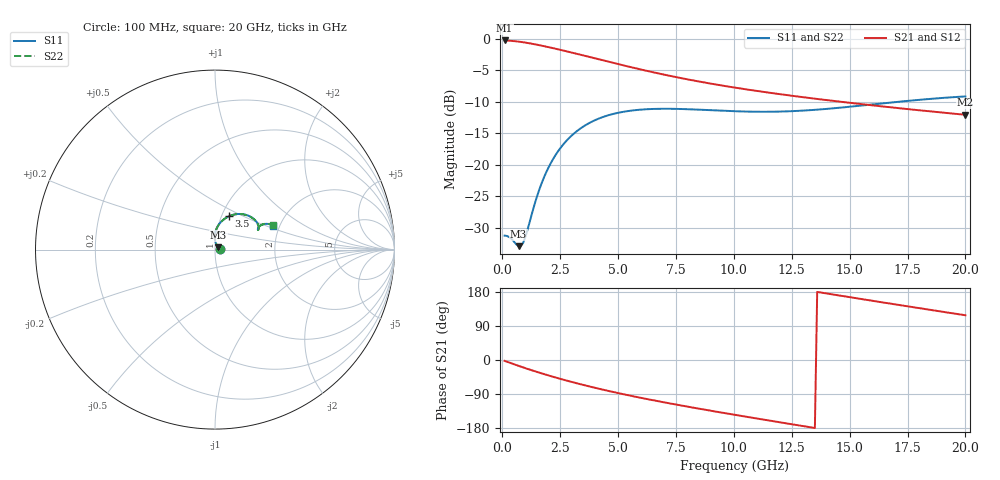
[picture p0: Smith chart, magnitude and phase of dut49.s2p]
! Touchstone file exported from HFSS 2023.1.0
!  File:  D:/Users/fzz/RDL_TSV/temp_RDL_TSV_49_1778745231.aedt
!  Generated:  4:05:14 %x4E0B%x5348  5%x6708 14, 2026
!  Design:  RDL_TSV
!  Project:  temp_RDL_TSV_49_1778745231
!  Setup:  Setup1
!  Solution:  Sweep
! Variables:
!  dtsv = 12.33um
!  hbump = 3um
!  htsv = 89.3um
!  ldown = 646.48um
!  lrdl = 322.25um
!  p = 40
!  p1 = 52.16um
!  rhole = 10um
!  subl = 3228.44um
!  t = 450um
!  tdown = 2.75um
!  trdl = 2.72um
!  viad = 10um
!  wdown = 11.9um
!  wrdl = 24.67um
!  xbump = 18um
# GHz S MA R 50.000000
! Terminal data exported
! Port[1] = TM1_1_T1
! Port[2] = TM1_4_T1
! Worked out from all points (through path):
!   200 points, 100 MHz to 20 GHz, reference 50 ohm
!   highest |S21| = -0.25 dB at 100 MHz (marker M1); lowest = -12.1 dB at 20 GHz (marker M2)
!   group delay of S21, straight-line fit = 31.4 ps
!   lowest |S11| = -33.0 dB at 700 MHz (marker M3), VSWR 1.05, Z = 51.8 + j1.36 ohm
!   |S11| at or under -10 dB: start of sweep to 17.1 GHz
!   |S22| runs from -33.0 to -9.1 dB; largest |S21 - S12| = 7.4e-15
!   S11 on the Smith chart (normalised r, x): 100 MHz: 1.06, +0.00; 3.5 GHz: 1.08, +0.42; 20 GHz: 1.84, +0.56
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0.1  0.02731 3.5  0.9721 -2.3  0.9721 -2.3  0.02731 3.5
! Gamma 0 0 0 0
! Port Impedance 50 0 50 0
0.3  0.02659 10.3  0.9679 -6.7  0.9679 -6.7  0.0266 10.3
0.7  0.0225 35.6  0.9516 -15.4  0.9516 -15.4  0.02251 35.5
0.8  0.02256 46.6  0.9462 -17.5  0.9462 -17.5  0.02256 46.5
0.9  0.0239 58.2  0.9405 -19.6  0.9405 -19.6  0.0239 58.1
1  0.02669 68.7  0.9343 -21.6  0.9343 -21.6  0.02668 68.6
1.4  0.04883 89.4  0.9066 -29.6  0.9066 -29.6  0.04877 89.4
1.6  0.06352 91.4  0.8916 -33.5  0.8916 -33.5  0.06343 91.4
1.8  0.07921 91.0  0.8759 -37.2  0.8759 -37.2  0.0791 91.0
2.1  0.1034 88.2  0.8519 -42.7  0.8519 -42.7  0.1032 88.1
2.7  0.1498 79.6  0.8031 -53.0  0.8031 -53.0  0.1496 79.5
3.5  0.2012 67.4  0.7392 -65.8  0.7392 -65.8  0.2008 67.3
4.2  0.234 57.9  0.6863 -76.2  0.6863 -76.2  0.2335 57.8
5.1  0.2608 47.6  0.6245 -88.6  0.6245 -88.6  0.2602 47.6
5.9  0.2732 40.4  0.576 -98.8  0.576 -98.8  0.2726 40.3
6.8  0.2782 34.1  0.5289 -109.6  0.5289 -109.6  0.2775 34.0
8.3  0.2748 27.4  0.4655 -126.4  0.4655 -126.4  0.2739 27.4
10.1  0.2659 24.6  0.4085 -145.3  0.4085 -145.3  0.265 24.7
11.7  0.2638 25.2  0.3697 -161.5  0.3697 -161.5  0.2629 25.3
13.4  0.2722 27.0  0.3366 -178.5  0.3366 -178.5  0.2715 27.1
16.7  0.3109 27.3  0.2868 149.3  0.2868 149.3  0.3105 27.5
20  0.3491 22.6  0.2495 118.1  0.2495 118.1  0.3489 22.7
